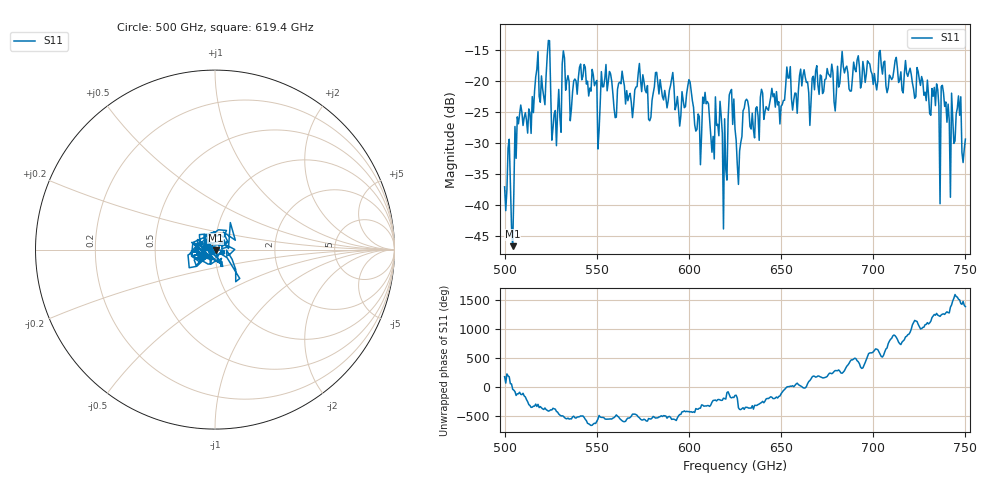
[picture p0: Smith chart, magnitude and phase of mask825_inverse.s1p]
!Created with skrf (http://scikit-rf.org).
# GHz S MA R 50.0
!freq magS11 angS11
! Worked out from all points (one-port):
!   401 points, 500 GHz to 750 GHz, reference 50 ohm
!   lowest |S11| = -46.7 dB at 504.4 GHz (marker M1), VSWR 1.01, Z = 50.4 - j0.294 ohm
!   |S11| at or under -10 dB: start of sweep to end of sweep
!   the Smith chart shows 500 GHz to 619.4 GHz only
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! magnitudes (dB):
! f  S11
! 500 GHz  -37.1
! 504.4 GHz  -46.7
! 508.1 GHz  -25.4
! 523.8 GHz  -13.4
! 526.9 GHz  -25.3
! 531.2 GHz  -17.2
! 542.5 GHz  -19.2
! 550.6 GHz  -31.0
! 562.5 GHz  -20.2
! 593.8 GHz  -22.5
! 600 GHz  -19.8
! 605.6 GHz  -25.7
! 609.4 GHz  -23.7
! 612.5 GHz  -31.5
! 616.9 GHz  -23.3
! 619.4 GHz  -26.1
! 623.1 GHz  -21.4
! 625 GHz  -27.7
! 627.5 GHz  -31.3
! 630.6 GHz  -23.2
! 656.2 GHz  -24.7
! 687.5 GHz  -21.6
! 718.8 GHz  -19.2
! 735 GHz  -21.4
! 738.1 GHz  -21.9
! 743.1 GHz  -25.9
! 746.2 GHz  -22.4
! 750 GHz  -29.4
